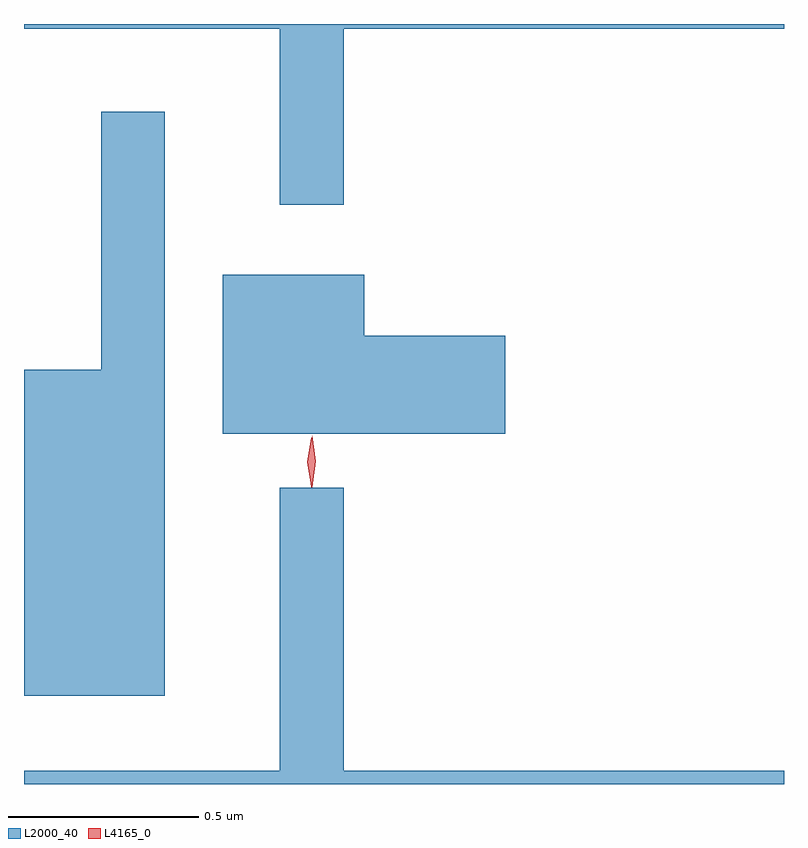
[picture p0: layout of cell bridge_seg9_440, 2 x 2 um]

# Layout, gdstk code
import gdstk
lib = gdstk.Library(unit=1e-6, precision=1e-09)
def P(c, l, *ps):  # polygons
    for p in ps: c.add(gdstk.Polygon(p, *l))
L2000_40 = (2000, 40)
L4165_0 = (4165, 0)

bridge_seg9_440 = lib.new_cell('bridge_seg9_440')
P(bridge_seg9_440, L2000_40, [(539.929,2071.736),(541.088,2071.736),(541.088,2071.749),(539.088,2071.749),(539.088,2071.736),(539.761,2071.736),(539.761,2071.273),(539.929,2071.273)],
  [(539.459,2071.518),(539.291,2071.518),(539.291,2070.839),(539.088,2070.839),(539.088,2069.981),(539.459,2069.981)],
  [(540.354,2070.929),(539.984,2070.929),(539.984,2071.089),(539.611,2071.089),(539.611,2070.671),(540.354,2070.671)],
  [(541.088,2069.784),(539.929,2069.784),(539.929,2070.528),(539.761,2070.528),(539.761,2069.784),(539.088,2069.784),(539.088,2069.749),(541.088,2069.749)])
P(bridge_seg9_440, L4165_0, [(539.844,2070.53),(539.836,2070.598),(539.846,2070.665),(539.847,2070.666),(539.847,2070.665),(539.856,2070.598),(539.846,2070.53),(539.845,2070.53)],
  [(539.845,2070.533),(539.844,2070.534),(539.834,2070.596),(539.844,2070.66),(539.844,2070.66),(539.845,2070.66),(539.854,2070.597),(539.845,2070.534)])

lib.write_gds('bridge_seg9_440.gds')
